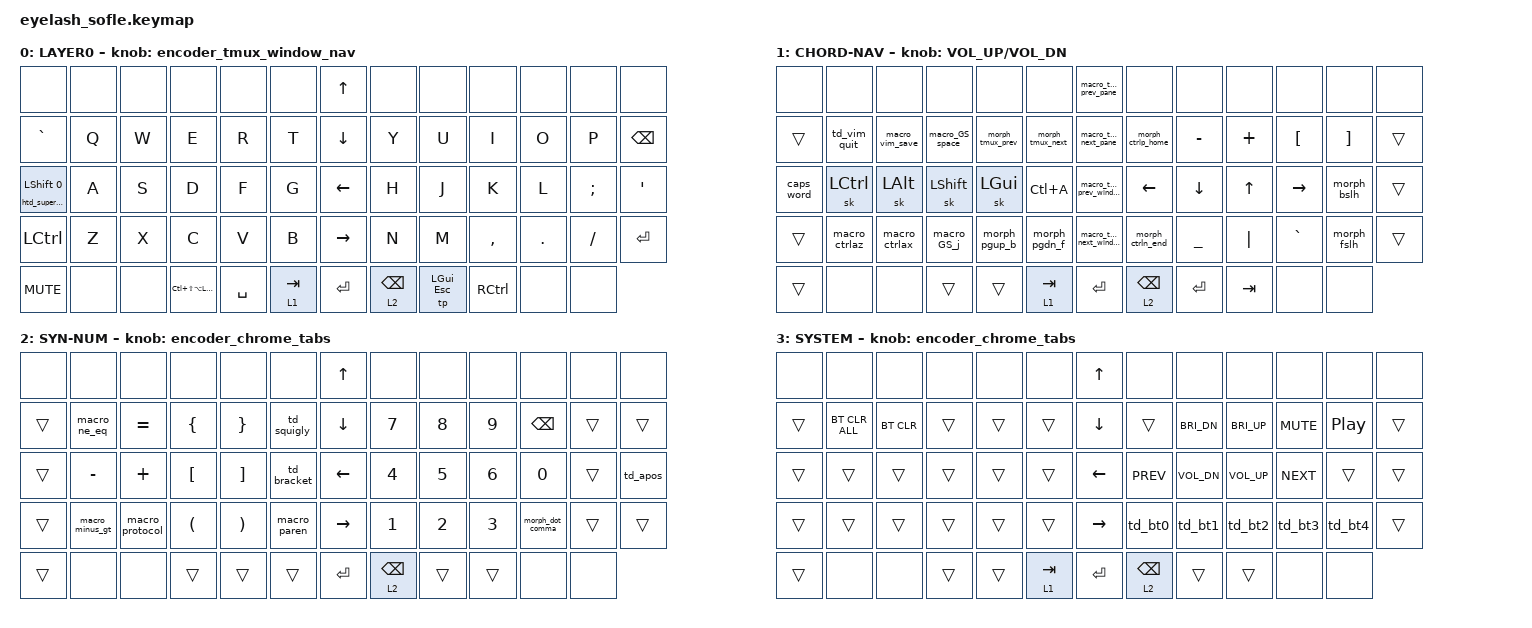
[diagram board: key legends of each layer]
#define ZMK_POINTING_DEFAULT_MOVE_VAL 1200  // 600
#define ZMK_POINTING_DEFAULT_SCRL_VAL 25   // 10

#include <input/processors.dtsi>
#include <zephyr/dt-bindings/input/input-event-codes.h>
#include <behaviors.dtsi>
#include <dt-bindings/zmk/bt.h>
#include <dt-bindings/zmk/ext_power.h>
#include <dt-bindings/zmk/keys.h>
#include <dt-bindings/zmk/pointing.h>
#include <dt-bindings/zmk/rgb.h>
#include <dt-bindings/zmk/outputs.h>
#include "eyelash_sofle_keypos.h"
#include "behaviours.dtsi"
#include "macros.dtsi"

&mmv_input_listener { input-processors = <&zip_xy_scaler 2 1>; };

&msc_input_listener { input-processors = <&zip_scroll_scaler 2 1>; };

#define _v_ &trans
#define XXX &none

#define HYPER LC(LS(LA(LGUI)))

&msc {
    acceleration-exponent = <1>;      // 0
    time-to-max-speed-ms = <100>;       // 300
    delay-ms = <0>;                   // 0
};

&mmv {
    time-to-max-speed-ms = <500>;
    acceleration-exponent = <1>;
    trigger-period-ms = <16>;
};


/ {
    conditional_layers {
        compatible = "zmk,conditional-layers";
        tri_layer {
            if-layers = <1 2>;
            then-layer = <3>;
        };
    };
    scroll_encoder: scroll_encoder {
        compatible = "zmk,behavior-sensor-rotate";
        #sensor-binding-cells = <0>;
        bindings = <&msc SCRL_UP>, <&msc SCRL_DOWN>;
        tap-ms = <30>;
    };
    encoder_tmux_window_nav: encoder_tmux_window_nav {
        compatible = "zmk,behavior-sensor-rotate";
        #sensor-binding-cells = <0>;
        bindings = <&macro_tmux_next_window>, <&macro_tmux_prev_window>;
    };
    encoder_tmux_pane_nav: encoder_tmux_pane_nav {
        compatible = "zmk,behavior-sensor-rotate";
        #sensor-binding-cells = <0>;
        bindings = <&macro_tmux_next_pane>, <&macro_tmux_prev_pane>;
    };
    encoder_chrome_tabs: encoder_chrome_tabs {
        compatible = "zmk,behavior-sensor-rotate";
        #sensor-binding-cells = <0>;
        bindings = <&macro_chrome_next_tab>, <&macro_chrome_prev_tab>;
    };

    keymap {
        compatible = "zmk,keymap";

        layer0 {
            bindings = <
XXX                       XXX              XXX             XXX              XXX              XXX                &kp UP_ARROW             XXX              XXX              XXX            XXX           XXX           XXX
&kp GRAVE                 &kp Q            &kp W           &kp E            &kp R            &kp T              &kp DOWN_ARROW           &kp Y            &kp U            &kp I          &kp O         &kp P         &kp BACKSPACE
&htd_supershift LSHIFT 0  &kp A            &kp S           &kp D            &kp F            &kp G              &kp LEFT_ARROW           &kp H            &kp J            &kp K          &kp L         &kp SEMI      &kp APOS
&kp LCTRL                 &kp Z            &kp X           &kp C            &kp V            &kp B              &kp RIGHT_ARROW          &kp N            &kp M            &kp COMMA      &kp DOT       &kp SLASH     &kp ENTER
&kp C_MUTE                XXX              XXX             &kp HYPER        &kp SPACE        &lt 1 TAB          &kp ENTER                &lt 2 BACKSPACE  &tp LGUI ESC     &kp RCTRL      XXX           XXX
            >;

            sensor-bindings = <&encoder_tmux_window_nav>;
            display-name = "LAYER0";
        };

        layer1 {
            bindings = <
XXX            XXX                XXX              XXX                  XXX              XXX                &macro_tmux_prev_pane     XXX              XXX              XXX            XXX           XXX           XXX
_v_            &td_vim_quit        &macro_vim_save  &macro_GS_space      &morph_tmux_prev  &morph_tmux_next   &macro_tmux_next_pane     &morph_ctrlp_home &kp MINUS       &kp PLUS       &kp LBKT      &kp RBKT      _v_
&caps_word     &sk LCTRL          &sk LALT         &sk  LSHIFT          &sk LGUI         &kp LC(A)          &macro_tmux_prev_window   &kp LEFT         &kp DOWN         &kp UP         &kp RIGHT     &morph_bslh   _v_
_v_            &macro_ctrlaz      &macro_ctrlax    &macro_GS_j          &morph_pgup_b    &morph_pgdn_f      &macro_tmux_next_window   &morph_ctrln_end  &kp UNDER       &kp PIPE       &kp GRAVE     &morph_fslh   _v_
_v_            XXX                XXX              _v_                  _v_              &lt 1 TAB          &kp ENTER                 &lt 2 BACKSPACE  &kp ENTER        &kp TAB        XXX           XXX
            >;

            sensor-bindings = <&inc_dec_kp C_VOLUME_UP C_VOL_DN>;
            display-name = "CHORD-NAV";
        };

        layer_2 {
            bindings = <
XXX            XXX                XXX              XXX                  XXX               XXX                &kp UP_ARROW          XXX              XXX              XXX            XXX           XXX           XXX
_v_            &macro_ne_eq       &kp EQUAL        &kp LEFT_BRACE       &kp RIGHT_BRACE   &td_squigly        &kp DOWN_ARROW        &kp N7           &kp N8           &kp N9         &kp BACKSPACE _v_           _v_
_v_            &kp MINUS          &kp PLUS         &kp LEFT_BRACKET     &kp RIGHT_BRACKET &td_bracket        &kp LEFT_ARROW        &kp N4           &kp N5           &kp N6         &kp N0        _v_           &td_apos
_v_            &macro_minus_gt    &macro_protocol  &kp LPAR             &kp RPAR          &macro_paren       &kp RIGHT_ARROW       &kp N1           &kp N2           &kp N3         &morph_dot_comma _v_         _v_
_v_            XXX                XXX              _v_                  _v_               _v_                &kp ENTER             &lt 2 BACKSPACE  _v_               _v_            XXX           XXX
            >;

            sensor-bindings = <&encoder_chrome_tabs>;
            display-name = "SYN-NUM";
        };

        layer_3 {
            bindings = <
XXX            XXX                XXX              XXX                  XXX               XXX                &kp UP_ARROW          XXX              XXX              XXX            XXX           XXX           XXX
_v_            &bt BT_CLR_ALL     &bt BT_CLR       _v_                  _v_               _v_                &kp DOWN_ARROW        _v_              &kp C_BRI_DN     &kp C_BRI_UP   &kp C_MUTE    &kp C_PP      _v_
_v_            _v_                _v_              _v_                  _v_               _v_                &kp LEFT_ARROW        &kp C_PREV       &kp C_VOL_DN     &kp C_VOL_UP   &kp C_NEXT    _v_           _v_
_v_            _v_                _v_              _v_                  _v_               _v_                &kp RIGHT_ARROW       &td_bt0          &td_bt1          &td_bt2        &td_bt3       &td_bt4       _v_
_v_            XXX                XXX              _v_                  _v_               &lt 1 TAB          &kp ENTER             &lt 2 BACKSPACE  _v_              _v_            XXX           XXX
            >;

            sensor-bindings = <&encoder_chrome_tabs>;
            display-name = "SYSTEM";
        };
    };
};
